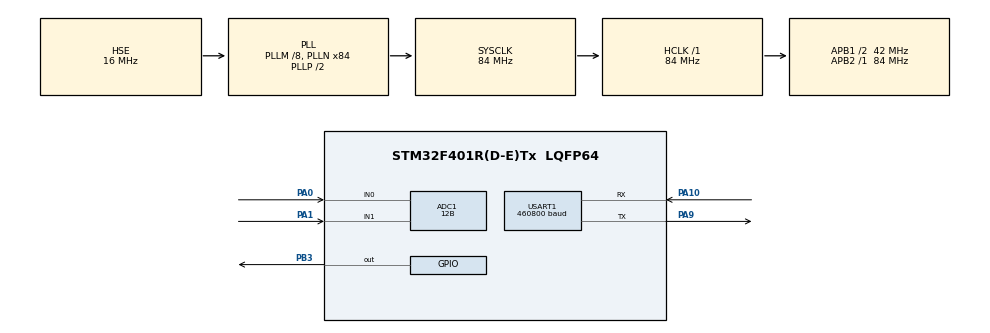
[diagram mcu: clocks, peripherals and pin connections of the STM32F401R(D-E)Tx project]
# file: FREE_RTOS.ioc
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ADC1.Channel-0\#ChannelRegularConversion=ADC_CHANNEL_0
ADC1.Channel-6\#ChannelRegularConversion=ADC_CHANNEL_1
ADC1.Channel-7\#ChannelRegularConversion=ADC_CHANNEL_TEMPSENSOR
ADC1.ClockPrescaler=ADC_CLOCK_SYNC_PCLK_DIV4
ADC1.ContinuousConvMode=ENABLE
ADC1.DMAContinuousRequests=ENABLE
ADC1.DataAlign=ADC_DATAALIGN_RIGHT
ADC1.DiscontinuousConvMode=DISABLE
ADC1.EOCSelection=ADC_EOC_SINGLE_CONV
ADC1.EnableAnalogWatchDog=false
ADC1.ExternalTrigConvEdge=ADC_EXTERNALTRIGCONVEDGE_NONE
ADC1.InjNumberOfConversion=0
ADC1.NbrOfConversion=3
ADC1.NbrOfConversionFlag=1
ADC1.Rank-0\#ChannelRegularConversion=1
ADC1.Rank-6\#ChannelRegularConversion=2
ADC1.Rank-7\#ChannelRegularConversion=3
ADC1.Resolution=ADC_RESOLUTION_12B
ADC1.SamplingTime-0\#ChannelRegularConversion=ADC_SAMPLETIME_480CYCLES
ADC1.SamplingTime-6\#ChannelRegularConversion=ADC_SAMPLETIME_480CYCLES
ADC1.SamplingTime-7\#ChannelRegularConversion=ADC_SAMPLETIME_480CYCLES
ADC1.ScanConvMode=ENABLE
ADC1.master=1
Dma.ADC1.0.Direction=DMA_PERIPH_TO_MEMORY
Dma.ADC1.0.FIFOMode=DMA_FIFOMODE_DISABLE
Dma.ADC1.0.Instance=DMA2_Stream0
Dma.ADC1.0.MemDataAlignment=DMA_MDATAALIGN_HALFWORD
Dma.ADC1.0.MemInc=DMA_MINC_ENABLE
Dma.ADC1.0.Mode=DMA_CIRCULAR
Dma.ADC1.0.PeriphDataAlignment=DMA_PDATAALIGN_HALFWORD
Dma.ADC1.0.PeriphInc=DMA_PINC_DISABLE
Dma.ADC1.0.Priority=DMA_PRIORITY_LOW
Dma.Request0=ADC1
FREERTOS.INCLUDE_uxTaskGetStackHighWaterMark=1
FREERTOS.Tasks01=defaultTask,-3,128,StartDefaultTask,Default;myTask_LED,0,128,StartTask_LED,Default;myTask_UART,2,128,StartTask_UART,Default
FREERTOS.configTICK_RATE_HZ=100
FREERTOS.configUSE_IDLE_HOOK=1
Mcu.Family=STM32F4
Mcu.Name=STM32F401R(D-E)Tx
Mcu.Package=LQFP64
NVIC.DMA2_Stream0_IRQn=true\:15\:0\:true\:false\:true\:true
NVIC.PriorityGroup=NVIC_PRIORITYGROUP_4
NVIC.TIM1_TRG_COM_TIM11_IRQn=true\:0\:0\:false\:false\:true\:false
NVIC.TimeBase=TIM1_TRG_COM_TIM11_IRQn
NVIC.TimeBaseIP=TIM11
PA0-WKUP.Signal=ADCx_IN0
PA1.Signal=ADCx_IN1
PA10.Mode=Asynchronous
PA10.Signal=USART1_RX
PA9.Mode=Asynchronous
PA9.Signal=USART1_TX
PB3.Signal=GPIO_Output
PH0\ -\ OSC_IN.Mode=HSE-External-Oscillator
PH0\ -\ OSC_IN.Signal=RCC_OSC_IN
PH1\ -\ OSC_OUT.Mode=HSE-External-Oscillator
PH1\ -\ OSC_OUT.Signal=RCC_OSC_OUT
ProjectManager.HeapSize=0x200
ProjectManager.StackSize=0x400
ProjectManager.TargetToolchain=MDK-ARM V5
RCC.48MHZClocksFreq_Value=42000000
RCC.AHBFreq_Value=84000000
RCC.APB1CLKDivider=RCC_HCLK_DIV2
RCC.APB1Freq_Value=42000000
RCC.APB1TimCLKDivider=1
RCC.APB1TimFreq_Value=42000000
RCC.APB2Freq_Value=84000000
RCC.APB2TimFreq_Value=84000000
RCC.CortexFreq_Value=84000000
RCC.HCLKFreq_Value=84000000
RCC.HSE_VALUE=16000000
RCC.HSI_VALUE=16000000
RCC.LSE_VALUE=32768
RCC.PLLM=8
RCC.PLLN=84
RCC.PLLSourceVirtual=RCC_PLLSOURCE_HSE
RCC.SYSCLKFreq_VALUE=84000000
RCC.SYSCLKSource=RCC_SYSCLKSOURCE_PLLCLK
RCC.VCOOutputFreq_Value=168000000
SH.ADCx_IN0.0=ADC1_IN0,IN0
SH.ADCx_IN1.0=ADC1_IN1,IN1
USART1.BaudRate=460800
VP_ADC1_TempSens_Input.Mode=IN-TempSens
VP_FREERTOS_VS_ENABLE.Mode=Enabled
VP_SYS_VS_tim11.Mode=TIM11
board=FREE_RTOS

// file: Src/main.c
/**
  ******************************************************************************
  * File Name          : main.c
  * Description        : Main program body
  ******************************************************************************
  *
  * COPYRIGHT(c) 2016 STMicroelectronics
  *
  * Redistribution and use in source and binary forms, with or without modification,
  * are permitted provided that the following conditions are met:
  *   1. Redistributions of source code must retain the above copyright notice,
  *      this list of conditions and the following disclaimer.
  *   2. Redistributions in binary form must reproduce the above copyright notice,
  *      this list of conditions and the following disclaimer in the documentation
  *      and/or other materials provided with the distribution.
  *   3. Neither the name of STMicroelectronics nor the names of its contributors
  *      may be used to endorse or promote products derived from this software
  *      without specific prior written permission.
  *
  * THIS SOFTWARE IS PROVIDED BY THE COPYRIGHT HOLDERS AND CONTRIBUTORS "AS IS"
  * AND ANY EXPRESS OR IMPLIED WARRANTIES, INCLUDING, BUT NOT LIMITED TO, THE
  * IMPLIED WARRANTIES OF MERCHANTABILITY AND FITNESS FOR A PARTICULAR PURPOSE ARE
  * DISCLAIMED. IN NO EVENT SHALL THE COPYRIGHT HOLDER OR CONTRIBUTORS BE LIABLE
  * FOR ANY DIRECT, INDIRECT, INCIDENTAL, SPECIAL, EXEMPLARY, OR CONSEQUENTIAL
  * DAMAGES (INCLUDING, BUT NOT LIMITED TO, PROCUREMENT OF SUBSTITUTE GOODS OR
  * SERVICES; LOSS OF USE, DATA, OR PROFITS; OR BUSINESS INTERRUPTION) HOWEVER
  * CAUSED AND ON ANY THEORY OF LIABILITY, WHETHER IN CONTRACT, STRICT LIABILITY,
  * OR TORT (INCLUDING NEGLIGENCE OR OTHERWISE) ARISING IN ANY WAY OUT OF THE USE
  * OF THIS SOFTWARE, EVEN IF ADVISED OF THE POSSIBILITY OF SUCH DAMAGE.
  *
  ******************************************************************************
  */
#include "stm32f4xx_hal.h"
#include "cmsis_os.h"
#include "adc.h"
#include "dma.h"
#include "usart.h"
#include "gpio.h"

/* USER CODE BEGIN PV */
/* Private variables ---------------------------------------------------------*/
volatile uint16_t ADC_Value[3];

/* USER CODE END PV */

void SystemClock_Config(void);
void Error_Handler(void);
void MX_FREERTOS_Init(void);

/* USER CODE BEGIN PFP */
/* Private function prototypes -----------------------------------------------*/

/* USER CODE END PFP */

int main(void)
{

  /* MCU Configuration----------------------------------------------------------*/

  /* Reset of all peripherals, Initializes the Flash interface and the Systick. */
  HAL_Init();

  /* Configure the system clock */
  SystemClock_Config();

  /* Initialize all configured peripherals */
  MX_GPIO_Init();
  MX_DMA_Init();
  MX_ADC1_Init();
  MX_USART1_UART_Init();

  /* USER CODE BEGIN 2 */
  SystemCoreClockUpdate();
  printf("SystemCoreClock = %d\r\n", SystemCoreClock);

  HAL_NVIC_DisableIRQ(DMA2_Stream0_IRQn);
  HAL_ADC_Start_DMA(&hadc1, (uint32_t*)ADC_Value, 3);

  /* USER CODE END 2 */

  /* Call init function for freertos objects (in freertos.c) */
  MX_FREERTOS_Init();

  /* Start scheduler */
  osKernelStart();

  /* We should never get here as control is now taken by the scheduler */

  /* Infinite loop */
  while (1)
  {

  }

}

/** System Clock Configuration
*/
void SystemClock_Config(void)
{

  RCC_OscInitTypeDef RCC_OscInitStruct;
  RCC_ClkInitTypeDef RCC_ClkInitStruct;

  __HAL_RCC_PWR_CLK_ENABLE();

  __HAL_PWR_VOLTAGESCALING_CONFIG(PWR_REGULATOR_VOLTAGE_SCALE2);

  RCC_OscInitStruct.OscillatorType = RCC_OSCILLATORTYPE_HSE;
  RCC_OscInitStruct.HSEState = RCC_HSE_ON;
  RCC_OscInitStruct.PLL.PLLState = RCC_PLL_ON;
  RCC_OscInitStruct.PLL.PLLSource = RCC_PLLSOURCE_HSE;
  RCC_OscInitStruct.PLL.PLLM = 8;
  RCC_OscInitStruct.PLL.PLLN = 84;
  RCC_OscInitStruct.PLL.PLLP = RCC_PLLP_DIV2;
  RCC_OscInitStruct.PLL.PLLQ = 4;
  if (HAL_RCC_OscConfig(&RCC_OscInitStruct) != HAL_OK)
  {
    Error_Handler();
  }

  RCC_ClkInitStruct.ClockType = RCC_CLOCKTYPE_HCLK|RCC_CLOCKTYPE_SYSCLK
                              |RCC_CLOCKTYPE_PCLK1|RCC_CLOCKTYPE_PCLK2;
  RCC_ClkInitStruct.SYSCLKSource = RCC_SYSCLKSOURCE_PLLCLK;
  RCC_ClkInitStruct.AHBCLKDivider = RCC_SYSCLK_DIV1;
  RCC_ClkInitStruct.APB1CLKDivider = RCC_HCLK_DIV2;
  RCC_ClkInitStruct.APB2CLKDivider = RCC_HCLK_DIV1;
  if (HAL_RCC_ClockConfig(&RCC_ClkInitStruct, FLASH_LATENCY_2) != HAL_OK)
  {
    Error_Handler();
  }

  HAL_SYSTICK_Config(HAL_RCC_GetHCLKFreq()/1000);

  HAL_SYSTICK_CLKSourceConfig(SYSTICK_CLKSOURCE_HCLK);

  /* SysTick_IRQn interrupt configuration */
  HAL_NVIC_SetPriority(SysTick_IRQn, 15, 0);
}

void HAL_TIM_PeriodElapsedCallback(TIM_HandleTypeDef *htim)
{
  if (htim->Instance == TIM11) {
    HAL_IncTick();
  }
}

void Error_Handler(void)
{
  while(1)
  {
  }
}

/************************ (C) COPYRIGHT STMicroelectronics *****END OF FILE****/

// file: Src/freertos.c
/**
  ******************************************************************************
  * File Name          : freertos.c
  * Description        : Code for freertos applications
  ******************************************************************************
  *
  * COPYRIGHT(c) 2016 STMicroelectronics
  *
  * Redistribution and use in source and binary forms, with or without modification,
  * are permitted provided that the following conditions are met:
  *   1. Redistributions of source code must retain the above copyright notice,
  *      this list of conditions and the following disclaimer.
  *   2. Redistributions in binary form must reproduce the above copyright notice,
  *      this list of conditions and the following disclaimer in the documentation
  *      and/or other materials provided with the distribution.
  *   3. Neither the name of STMicroelectronics nor the names of its contributors
  *      may be used to endorse or promote products derived from this software
  *      without specific prior written permission.
  *
  * THIS SOFTWARE IS PROVIDED BY THE COPYRIGHT HOLDERS AND CONTRIBUTORS "AS IS"
  * AND ANY EXPRESS OR IMPLIED WARRANTIES, INCLUDING, BUT NOT LIMITED TO, THE
  * IMPLIED WARRANTIES OF MERCHANTABILITY AND FITNESS FOR A PARTICULAR PURPOSE ARE
  * DISCLAIMED. IN NO EVENT SHALL THE COPYRIGHT HOLDER OR CONTRIBUTORS BE LIABLE
  * FOR ANY DIRECT, INDIRECT, INCIDENTAL, SPECIAL, EXEMPLARY, OR CONSEQUENTIAL
  * DAMAGES (INCLUDING, BUT NOT LIMITED TO, PROCUREMENT OF SUBSTITUTE GOODS OR
  * SERVICES; LOSS OF USE, DATA, OR PROFITS; OR BUSINESS INTERRUPTION) HOWEVER
  * CAUSED AND ON ANY THEORY OF LIABILITY, WHETHER IN CONTRACT, STRICT LIABILITY,
  * OR TORT (INCLUDING NEGLIGENCE OR OTHERWISE) ARISING IN ANY WAY OUT OF THE USE
  * OF THIS SOFTWARE, EVEN IF ADVISED OF THE POSSIBILITY OF SUCH DAMAGE.
  *
  ******************************************************************************
  */

#include "FreeRTOS.h"
#include "task.h"
#include "cmsis_os.h"

/* USER CODE BEGIN Includes */
#include "stm32f4xx_hal.h"
#include <stdio.h>
#include "adc.h"

/* USER CODE END Includes */

osThreadId defaultTaskHandle;
osThreadId myTask_LEDHandle;
osThreadId myTask_UARTHandle;

/* USER CODE BEGIN Variables */
extern uint16_t ADC_Value[];

/* USER CODE END Variables */

void StartDefaultTask(void const * argument);
void StartTask_LED(void const * argument);
void StartTask_UART(void const * argument);

void MX_FREERTOS_Init(void); /* (MISRA C 2004 rule 8.1) */

/* Hook prototypes */
void vApplicationIdleHook(void);

/* USER CODE BEGIN 2 */
void vApplicationIdleHook( void )
{
   /* vApplicationIdleHook() will only be called if configUSE_IDLE_HOOK is set
   to 1 in FreeRTOSConfig.h. It will be called on each iteration of the idle
   task. It is essential that code added to this hook function never attempts
   to block in any way (for example, call xQueueReceive() with a block time
   specified, or call vTaskDelay()). If the application makes use of the
   vTaskDelete() API function (as this demo application does) then it is also
   important that vApplicationIdleHook() is permitted to return to its calling
   function, because it is the responsibility of the idle task to clean up
   memory allocated by the kernel to any task that has since been deleted. */

   HAL_GPIO_TogglePin(GPIOB, GPIO_PIN_3);
}
/* USER CODE END 2 */

/* Init FreeRTOS */

void MX_FREERTOS_Init(void) {
  /* USER CODE BEGIN Init */
  printf("MX_FREERTOS_Init...\r\n");
  /* USER CODE END Init */

  /* Create the thread(s) */
  /* definition and creation of defaultTask */
  osThreadDef(defaultTask, StartDefaultTask, osPriorityIdle, 0, 128);
  defaultTaskHandle = osThreadCreate(osThread(defaultTask), NULL);

  /* definition and creation of myTask_LED */
  osThreadDef(myTask_LED, StartTask_LED, osPriorityNormal, 0, 128);
  myTask_LEDHandle = osThreadCreate(osThread(myTask_LED), NULL);

  /* definition and creation of myTask_UART */
  osThreadDef(myTask_UART, StartTask_UART, osPriorityHigh, 0, 128);
  myTask_UARTHandle = osThreadCreate(osThread(myTask_UART), NULL);

}

/* StartDefaultTask function */
void StartDefaultTask(void const * argument)
{

  /* USER CODE BEGIN StartDefaultTask */
    UBaseType_t FreeStack;
    float temperature;
    uint32_t GROUP=NVIC_PRIORITYGROUP_4, PP=0, SP=0;

    //测试优先级分配是否和预期一致
    HAL_NVIC_GetPriority(SysTick_IRQn, GROUP, &PP, &SP);
    printf("SysTick_IRQn    PP=%d,SP=%d\r\n", PP, SP);
    HAL_NVIC_GetPriority(PendSV_IRQn, GROUP, &PP, &SP);
    printf("PendSV_IRQn     PP=%d,SP=%d\r\n", PP, SP);
    HAL_NVIC_GetPriority(DMA2_Stream0_IRQn, GROUP, &PP, &SP);
    printf("DMA2_Stream0_IRQn   PP=%d,SP=%d\r\n", PP, SP);

  /* Infinite loop */
  for(;;)
  {
    FreeStack = uxTaskGetStackHighWaterMark(NULL);
    printf("TASK_%s FREE STACK:%ld\r\n", "Default", FreeStack);

    printf("ADC_Value[0] = %d\r\n", ADC_Value[0]);
    printf("ADC_Value[1] = %d\r\n", ADC_Value[1]);
    printf("ADC_Value[2] = %d\r\n", ADC_Value[2]);

    temperature = (float)ADC_Value[2]*(3.3f/4095);
    temperature=(temperature - 0.76f)/0.0025f + 25;
    printf("CPU Temperature = %f\r\n", temperature);
    printf("C1:%f\r\n", temperature);

    osDelay(1000);
  }
  /* USER CODE END StartDefaultTask */
}

/* StartTask_LED function */
void StartTask_LED(void const * argument)
{
  /* USER CODE BEGIN StartTask_LED */
  UBaseType_t FreeStack;
  //uint32_t a[38]={0};
  /* Infinite loop */
  for(;;)
  {
    FreeStack = uxTaskGetStackHighWaterMark(NULL);
    printf("TASK_%s FREE STACK:%ld\r\n", "LED", FreeStack);
    HAL_GPIO_TogglePin(GPIOB, GPIO_PIN_3);
    osDelay(1000);
  }
  /* USER CODE END StartTask_LED */
}

/* StartTask_UART function */
void StartTask_UART(void const * argument)
{
  /* USER CODE BEGIN StartTask_UART */
  UBaseType_t FreeStack;
  /* Infinite loop */
  for(;;)
  {
    FreeStack = uxTaskGetStackHighWaterMark(NULL);
    printf("TASK_%s FREE STACK:%ld\r\n", "UART", FreeStack);
    osDelay(1000);
  }
  /* USER CODE END StartTask_UART */
}

/************************ (C) COPYRIGHT STMicroelectronics *****END OF FILE****/
